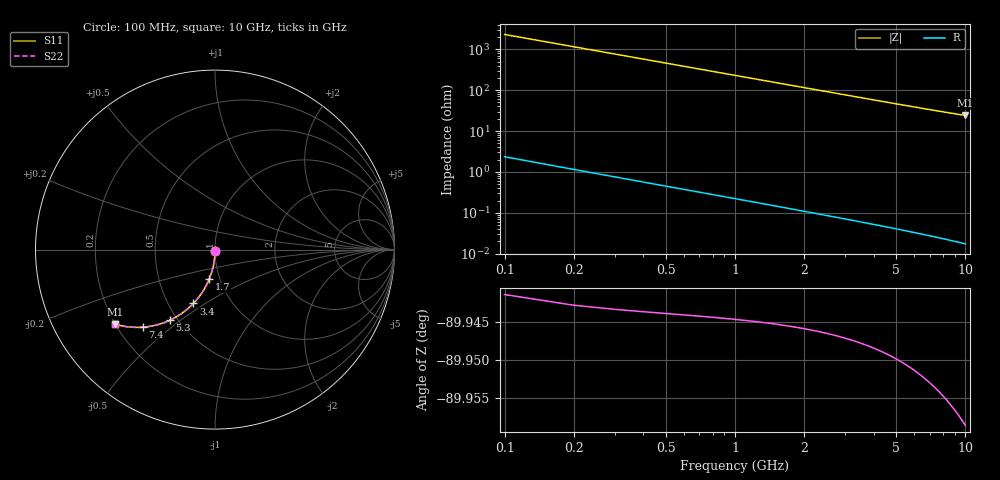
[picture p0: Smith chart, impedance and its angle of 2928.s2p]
# Hz S RI R 50.00
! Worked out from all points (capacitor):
!   100 points, 100 MHz to 10 GHz, reference 50 ohm
!   read as one part in shunt: C = 692 fF near 100 MHz
!   lowest |Z| = 24.1 ohm at 10 GHz (marker M1)
!   S11 on the Smith chart (normalised r, x): 100 MHz: 1.00, -0.02; 1.7 GHz: 0.89, -0.30; 3.4 GHz: 0.67, -0.45; 5.3 GHz: 0.45, -0.46; 7.4 GHz: 0.30, -0.40; 10 GHz: 0.20, -0.32
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1e8  0.0001 -0.0101  0.9996 -0.0116  0.9996 -0.0116  0.0001 -0.0101
2e8  -0.000261 -0.0202  0.9993 -0.0232  0.9993 -0.0232  -0.000261 -0.0202
3e8  -0.000857 -0.0303  0.9987 -0.0349  0.9987 -0.0349  -0.000857 -0.0303
4e8  -0.00169 -0.0403  0.9978 -0.0464  0.9978 -0.0464  -0.00169 -0.0403
5e8  -0.00275 -0.0503  0.9968 -0.058  0.9968 -0.058  -0.00275 -0.0503
6e8  -0.00404 -0.0603  0.9954 -0.0695  0.9954 -0.0695  -0.00404 -0.0603
8e8  -0.00732 -0.0801  0.9921 -0.0924  0.9921 -0.0924  -0.00732 -0.0801
1.1e9  -0.0139 -0.1094  0.9855 -0.1263  0.9855 -0.1263  -0.0139 -0.1094
1.4e9  -0.0225 -0.1381  0.9768 -0.1596  0.9768 -0.1596  -0.0225 -0.1381
1.7e9  -0.0329 -0.1658  0.9663 -0.1919  0.9663 -0.1919  -0.0329 -0.1658
1.8e9  -0.0367 -0.1748  0.9624 -0.2025  0.9624 -0.2025  -0.0367 -0.1748
2.1e9  -0.0494 -0.2012  0.9496 -0.2335  0.9496 -0.2335  -0.0494 -0.2012
2.5e9  -0.0688 -0.2344  0.93 -0.2729  0.93 -0.2729  -0.0688 -0.2344
2.9e9  -0.0906 -0.2653  0.9079 -0.31  0.9079 -0.31  -0.0906 -0.2653
3.4e9  -0.1208 -0.3002  0.8773 -0.3527  0.8773 -0.3527  -0.1208 -0.3002
4.2e9  -0.174 -0.3472  0.8234 -0.4122  0.8234 -0.4122  -0.174 -0.3472
5.1e9  -0.2381 -0.3869  0.7582 -0.4661  0.7582 -0.4661  -0.2381 -0.3869
5.3e9  -0.2526 -0.3939  0.7435 -0.4763  0.7435 -0.4763  -0.2526 -0.3939
6.7e9  -0.3531 -0.4259  0.6408 -0.5308  0.6408 -0.5308  -0.3531 -0.4259
7.4e9  -0.4011 -0.4322  0.5916 -0.5484  0.5916 -0.5484  -0.4011 -0.4322
8.4e9  -0.4653 -0.4322  0.5253 -0.5649  0.5253 -0.5649  -0.4653 -0.4322
1e10  -0.5555 -0.4157  0.4311 -0.5754  0.4311 -0.5754  -0.5555 -0.4157
